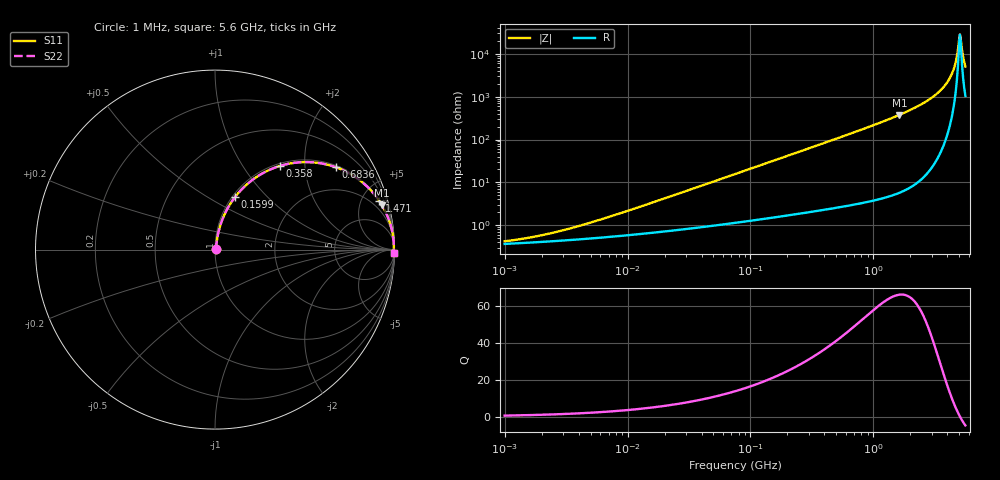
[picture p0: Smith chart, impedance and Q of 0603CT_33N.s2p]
# MHz  S  MA  R  50
!Freq  MagS11  AngS11  MagS21  AngS21  MagS12  AngS12  MagS22  AngS22
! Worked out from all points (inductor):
!   869 points, 1 MHz to 5.6 GHz, reference 50 ohm
!   read as one part in series: L = 33 nH near 7.922 MHz
!   highest Q = 66.1 at 1.625 GHz (marker M1), where L = 36.8 nH
!   self-resonance near 5.051 GHz
!   S11 on the Smith chart (normalised r, x): 1 MHz: 1.01, +0.00; 159.9 MHz: 1.03, +0.66; 358 MHz: 1.04, +1.49; 683.6 MHz: 1.06, +2.89; 1.471 GHz: 1.10, +6.66; 5.6 GHz: open
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1  0.004172 29.6  0.9964 -0.1  0.9964 -0.1  0.004172 29.6
2.006763  0.005786 45.5  0.996 -0.2  0.996 -0.2  0.005786 45.5
4.232522  0.009905 61.4  0.9953 -0.5  0.9953 -0.5  0.009905 61.4
17.91424  0.03749 77.4  0.9925 -2.1  0.9925 -2.1  0.03749 77.4
75.0717  0.1526 77.1  0.9773 -8.8  0.9773 -8.8  0.1526 77.1
159.9192  0.3111 69.3  0.9362 -18.1  0.9362 -18.1  0.3111 69.3
317.7426  0.5441 55.3  0.8223 -32.9  0.8223 -32.9  0.5441 55.3
358.0403  0.59 52.2  0.7904 -36.1  0.7904 -36.1  0.59 52.2
683.6301  0.8143 34.3  0.5639 -54.5  0.5639 -54.5  0.8143 34.3
1331.537  0.9432 18.5  0.3179 -70.6  0.3179 -70.6  0.9432 18.5
1470.845  0.9538 16.6  0.2863 -72.5  0.2863 -72.5  0.9538 16.6
1624.728  0.9627 14.8  0.2563 -74.3  0.2563 -74.3  0.9627 14.8
2725.789  0.9898 7.1  0.1243 -81.7  0.1243 -81.7  0.9898 7.1
3747.798  0.9957 3.3  0.05788 -84.1  0.05788 -84.1  0.9957 3.3
4139.9  0.9965 2.2  0.03847 -83.7  0.03847 -83.7  0.9965 2.2
4438.533  0.9967 1.4  0.02514 -81.8  0.02514 -81.8  0.9967 1.4
4664.943  0.9967 0.9  0.01578 -77.6  0.01578 -77.6  0.9967 0.9
4902.902  0.9966 0.3  0.006875 -60.5  0.006875 -60.5  0.9966 0.3
5051.465  0.9965 0.0  0.003502 -5.5  0.003502 -5.5  0.9965 0.0
5204.529  0.9964 -0.3  0.006447 55.4  0.006447 55.4  0.9964 -0.3
5415.854  0.9961 -0.7  0.01344 72.6  0.01344 72.6  0.9961 -0.7
5600  0.9958 -1.1  0.01966 77.0  0.01966 77.0  0.9958 -1.1
